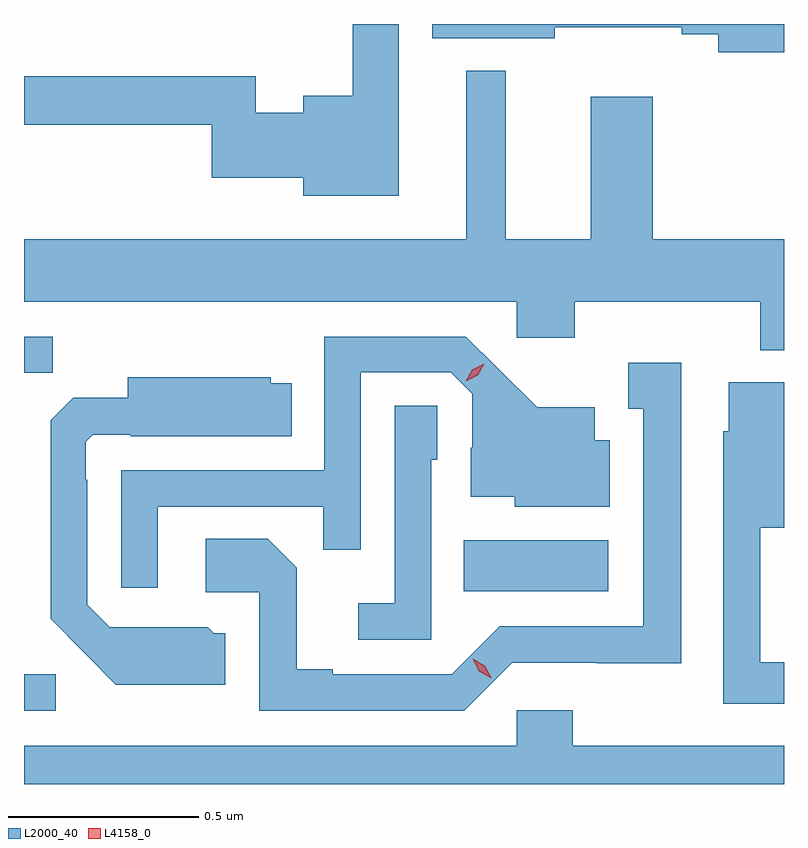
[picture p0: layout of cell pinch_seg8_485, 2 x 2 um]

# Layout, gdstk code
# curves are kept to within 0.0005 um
import gdstk
lib = gdstk.Library(unit=1e-6, precision=1e-09)
def R(c, l, rs):  # rectangles x0, y0, x1, y1
    for r in rs: c.add(gdstk.rectangle(r[:2], r[2:], *l))
def P(c, l, *ps):  # polygons
    for p in ps: c.add(gdstk.Polygon(p, *l))
L2000_40 = (2000, 40)
L4158_0 = (4158, 0)

pinch_seg8_485 = lib.new_cell('pinch_seg8_485')
R(pinch_seg8_485, L2000_40, [(187.493,1126.08,187.576,1126.176), (188.65,1126.394,189.031,1126.528), (187.493,1126.969,187.569,1127.064)])
P(pinch_seg8_485, L2000_40, [(188.479,1127.887),(188.358,1127.887),(188.358,1127.698),(188.228,1127.698),(188.228,1127.654),(188.103,1127.654),(188.103,1127.75),(187.493,1127.75),(187.493,1127.622),(187.987,1127.622),(187.987,1127.483),(188.228,1127.483),(188.228,1127.435),(188.479,1127.435)],
  [(189.493,1127.887),(188.567,1127.887),(188.567,1127.849),(188.89,1127.849),(188.89,1127.879),(189.224,1127.879),(189.224,1127.86),(189.32,1127.86),(189.32,1127.813),(189.493,1127.813)],
  [(189.493,1127.32),(189.148,1127.32),(189.148,1127.695),(188.984,1127.695),(188.984,1127.32),(188.761,1127.32),(188.761,1127.764),(188.657,1127.764),(188.657,1127.32),(187.493,1127.32),(187.493,1127.156),(188.79,1127.156),(188.79,1127.061),(188.942,1127.061),(188.942,1127.156),(189.431,1127.156),(189.431,1127.029),(189.493,1127.029)],
  [(187.845,1126.617),(188.281,1126.617),(188.281,1126.504),(188.379,1126.504),(188.379,1126.971),(188.616,1126.971),(188.673,1126.914),(188.673,1126.772),(188.669,1126.772),(188.669,1126.643),(188.784,1126.643),(188.784,1126.616),(189.034,1126.616),(189.034,1126.792),(188.995,1126.792),(188.995,1126.879),(188.843,1126.879),(188.656,1127.064),(188.283,1127.064),(188.283,1126.713),(187.749,1126.713),(187.749,1126.404),(187.845,1126.404)],
  [(188.778,1126.206),(189,1126.206),(189,1126.205),(189.223,1126.205),(189.223,1126.996),(189.083,1126.996),(189.083,1126.875),(189.122,1126.875),(189.122,1126.302),(188.745,1126.302),(188.619,1126.176),(188.305,1126.176),(188.305,1126.189),(188.211,1126.189),(188.211,1126.456),(188.135,1126.532),(187.971,1126.532),(187.971,1126.392),(188.112,1126.392),(188.112,1126.08),(188.652,1126.08)],
  [(188.023,1126.284),(187.992,1126.284),(187.976,1126.3),(187.842,1126.3),(187.842,1126.299),(187.719,1126.299),(187.659,1126.359),(187.659,1126.688),(187.656,1126.688),(187.656,1126.788),(187.674,1126.806),(187.774,1126.806),(187.774,1126.802),(188.198,1126.802),(188.198,1126.942),(188.142,1126.942),(188.142,1126.957),(187.766,1126.957),(187.766,1126.903),(187.622,1126.903),(187.563,1126.844),(187.563,1126.322),(187.735,1126.148),(188.023,1126.148)],
  [(189.493,1126.207),(189.431,1126.207),(189.431,1126.562),(189.493,1126.562),(189.493,1126.944),(189.347,1126.944),(189.347,1126.815),(189.333,1126.815),(189.333,1126.098),(189.493,1126.098)],
  [(188.565,1126.74),(188.58,1126.74),(188.58,1126.883),(188.469,1126.883),(188.469,1126.363),(188.373,1126.363),(188.373,1126.266),(188.565,1126.266)],
  [(189.493,1125.988),(188.937,1125.988),(188.937,1126.081),(188.79,1126.081),(188.79,1125.988),(187.493,1125.988),(187.493,1125.887),(189.493,1125.887)])
P(pinch_seg8_485, L4158_0, [(188.723,1126.165),(188.691,1126.184),(188.674,1126.217),(188.674,1126.217),(188.674,1126.217),(188.706,1126.198),(188.723,1126.166),(188.723,1126.165)],
  [(188.656,1126.947),(188.656,1126.947),(188.673,1126.977),(188.704,1126.993),(188.704,1126.993),(188.704,1126.993),(188.687,1126.963),(188.656,1126.947)])

lib.write_gds('pinch_seg8_485.gds')
